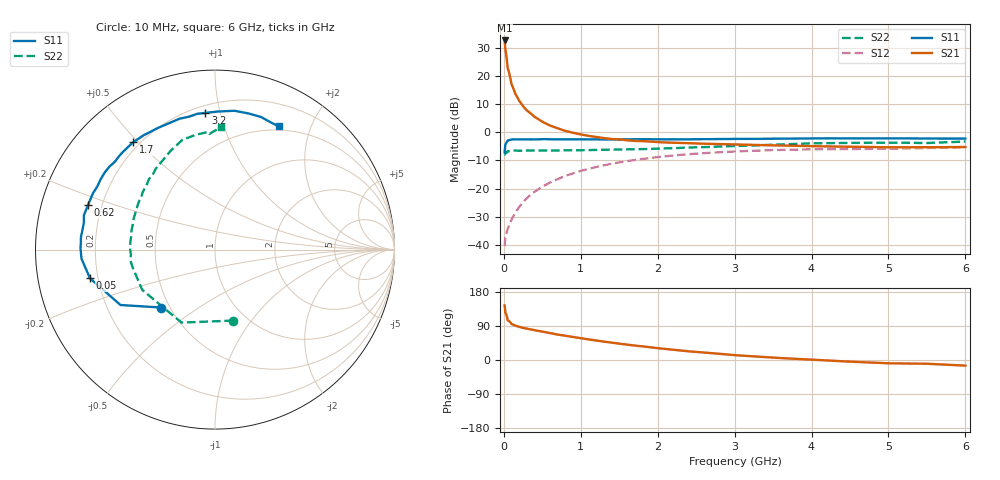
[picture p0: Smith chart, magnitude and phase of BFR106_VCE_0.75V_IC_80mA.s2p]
! Infineon Technologies  Discrete & RF Semiconductors
! BFR106
! VCE = 0.75 V,  IC =  80 mA
! Common Emitter S-Parameters:  Nov 2015
# GHz  S  MA  R  50
!  f  S11  S21  S12  S22
! GHz  MAG  ANG  MAG  ANG  MAG  ANG  MAG  ANG
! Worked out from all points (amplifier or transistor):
!   210 points, 10 MHz to 6 GHz, reference 50 ohm
!   highest |S21| = 32.5 dB at 10 MHz (marker M1)
!   |S21| within 3 dB of that: start of sweep to 19.62 MHz
!   unconditionally stable (mu >= 1): 57.23 MHz to end of sweep
!   at 185 MHz: K = 1.37, MAG = 15.8 dB, |S12| = -27.0 dB
!   at 1.52 GHz: K = 1.23, MAG = 1.1 dB, |S12| = -10.6 dB
!   at 6 GHz: K = 1.04, MAG = -1.1 dB, |S12| = -5.4 dB
!   S11 on the Smith chart (normalised r, x): 10 MHz: 0.45, -0.36; 50 MHz: 0.17, -0.11; 620 MHz: 0.15, +0.17; 1.7 GHz: 0.18, +0.48; 3.2 GHz: 0.25, +0.90; 6 GHz: 0.45, +1.55
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0.01  0.4399 -132.8  42.25 144.1  0.0096 55.8  0.408 -75.7
0.02  0.6102 -149.6  29.5 124.7  0.0136 46.3  0.4474 -114.6
0.05  0.7147 -167.1  13.72 104.6  0.0194 47.8  0.4634 -151.1
0.1  0.7456 -176.1  7.07 94.8  0.0282 58.0  0.4694 -167.3
0.15  0.7495 179.8  4.76 90.3  0.0377 63.1  0.4755 -172.9
0.2  0.7483 177.2  3.604 87.2  0.0475 66.4  0.469 -176.5
0.24  0.7498 175.0  3.023 85.2  0.0556 67.6  0.4716 -178.8
0.26  0.7496 174.1  2.789 84.3  0.0597 68.3  0.4726 -179.7
0.3  0.747 172.5  2.43 82.6  0.0682 69.5  0.4734 179.0
0.4  0.746 168.2  1.873 78.5  0.0881 69.5  0.4737 175.6
0.5  0.7554 165.4  1.536 74.9  0.1083 69.0  0.4733 172.9
0.62  0.7499 160.7  1.284 70.1  0.1324 67.6  0.4728 170.2
0.8  0.7487 155.1  1.056 64.0  0.1684 64.6  0.4784 166.0
1.02  0.7481 147.7  0.903 56.9  0.2101 60.6  0.4814 161.3
1.3  0.7425 138.8  0.789 48.4  0.26 54.9  0.4886 155.2
1.7  0.752 127.4  0.703 38.0  0.3224 46.9  0.5022 147.1
2.02  0.7487 119.2  0.667 30.8  0.3651 40.3  0.5159 140.9
3.1  0.763 95.6  0.601 11.5  0.4615 20.8  0.5749 120.6
3.2  0.7636 94.0  0.597 10.2  0.4665 19.3  0.5812 119.0
4.1  0.7804 80.8  0.563 -0.1  0.4996 6.6  0.6386 105.3
5.1  0.7801 70.0  0.542 -8.9  0.5132 -3.9  0.6541 93.3
6  0.7734 62.7  0.548 -14.8  0.5395 -11.8  0.6841 87.0
